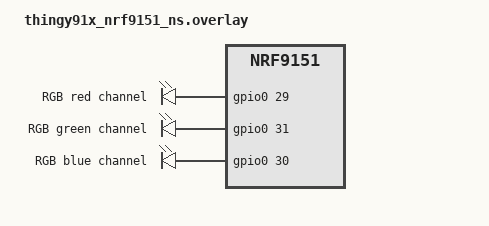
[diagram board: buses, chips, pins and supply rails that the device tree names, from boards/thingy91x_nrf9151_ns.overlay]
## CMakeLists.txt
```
#
# Copyright (c) 2022 Nordic Semiconductor
#
# SPDX-License-Identifier: LicenseRef-Nordic-5-Clause
#

cmake_minimum_required(VERSION 3.20.0)

find_package(Zephyr REQUIRED HINTS $ENV{ZEPHYR_BASE})
project(nrf_cloud_device_message_sample)

zephyr_compile_definitions(PROJECT_NAME=${PROJECT_NAME})
zephyr_include_directories(include/)

# NORDIC SDK APP START
# Add include directory for board specific CAF def files
zephyr_include_directories(
  include/${NORMALIZED_BOARD_TARGET}
  )
target_sources(app PRIVATE src/main.c)
# NORDIC SDK APP END
```

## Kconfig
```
#
# Copyright (c) 2022 Nordic Semiconductor ASA
#
# SPDX-License-Identifier: LicenseRef-Nordic-5-Clause
#

menu "nRF Cloud REST Device Message Sample"

config DEVICE_MESSAGE_SAMPLE_VERSION
	string "The sample's version string"
	default "1.0.0"

config DEVICE_MESSAGE_LTE_LED_NUM
	int "The LED number to use for indicating LTE connection success"
	default 0

config DEVICE_MESSAGE_SEND_LED_NUM
	int "The LED number to use for indicating outgoing REST request"
	default 1

config DEVICE_MESSAGE_KEEP_ALIVE
	bool "Keep connection alive during button handling"
	default y
	help
	  Keep the HTTP connection open after sending the button message so the
	  direct logging message can reuse it. This reduces data and power
	  consumption, but is not compatible with the cloud logging backend.

endmenu

menu "Zephyr Kernel"
source "Kconfig.zephyr"
endmenu

module = NRF_CLOUD_DEVICE_MESSAGE_SAMPLE
module-str = nRF Cloud Rest Sample
source "${ZEPHYR_BASE}/subsys/logging/Kconfig.template.log_config"
```

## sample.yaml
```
sample:
  name: nRF Cloud Device message
tests:
  sample.cellular.nrf_cloud_device_message_rest:
    sysbuild: true
    build_only: true
    integration_platforms:
      - nrf9151dk/nrf9151/ns
      - nrf9160dk/nrf9160/ns
      - nrf9161dk/nrf9161/ns
      - thingy91x/nrf9151/ns
    platform_allow:
      - nrf9151dk/nrf9151/ns
      - nrf9160dk/nrf9160/ns
      - nrf9161dk/nrf9161/ns
      - thingy91x/nrf9151/ns
    tags:
      - ci_build
      - sysbuild
      - ci_samples_cellular
  sample.cellular.nrf_cloud_device_message_coap:
    sysbuild: true
    build_only: true
    integration_platforms:
      - nrf9151dk/nrf9151/ns
      - nrf9160dk/nrf9160/ns
      - nrf9161dk/nrf9161/ns
      - thingy91x/nrf9151/ns
    platform_allow:
      - nrf9151dk/nrf9151/ns
      - nrf9160dk/nrf9160/ns
      - nrf9161dk/nrf9161/ns
      - thingy91x/nrf9151/ns
    tags:
      - ci_build
      - sysbuild
      - ci_samples_cellular
    extra_args: EXTRA_CONF_FILE="overlay_coap.conf"
```

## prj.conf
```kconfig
# Sample
CONFIG_NRF_CLOUD_DEVICE_MESSAGE_SAMPLE_LOG_LEVEL_INF=y

# nRF Cloud REST
CONFIG_NRF_CLOUD=y
CONFIG_NRF_CLOUD_REST=y
CONFIG_NRF_CLOUD_CLIENT_ID_SRC_IMEI=y
CONFIG_NRF_CLOUD_CHECK_CREDENTIALS=y

# Common Application Framework (CAF)
CONFIG_CAF=y
CONFIG_APP_EVENT_MANAGER=y
CONFIG_APP_EVENT_MANAGER_LOG_LEVEL_ERR=y

# CAF button module with GPIOs
CONFIG_GPIO=y
CONFIG_CAF_BUTTONS=y
CONFIG_CAF_BUTTONS_POLARITY_INVERSED=y

# CAF LEDs module with GPIOs
CONFIG_LED=y
CONFIG_CAF_LEDS=y
CONFIG_LED_GPIO=y
CONFIG_CAF_LEDS_GPIO=y

# Networking
CONFIG_NETWORKING=y
CONFIG_NET_SOCKETS=y
CONFIG_NET_SOCKETS_OFFLOAD=y

# Enable LTE Connectivity using Connection Manager
CONFIG_NET_IPV4=y
CONFIG_NET_IPV6=y
CONFIG_NET_IPV6_NBR_CACHE=n
CONFIG_NET_IPV6_MLD=n
CONFIG_NET_CONNECTION_MANAGER=y
CONFIG_NRF_MODEM_LIB=y
CONFIG_NRF_MODEM_LIB_NET_IF=y
CONFIG_NRF_MODEM_LIB_NET_IF_AUTO_DOWN=y
CONFIG_NRF_MODEM_LIB_NET_IF_DOWN_DEFAULT_LTE_DISCONNECT=y
CONFIG_NET_CONNECTION_MANAGER_MONITOR_STACK_SIZE=1024
CONFIG_NET_MGMT_EVENT_STACK_SIZE=1024

# LTE link control
CONFIG_LTE_LINK_CONTROL=y

# System
CONFIG_HEAP_MEM_POOL_SIZE=19000
CONFIG_MAIN_STACK_SIZE=3072
CONFIG_SYSTEM_WORKQUEUE_STACK_SIZE=2048
CONFIG_ASSERT=y
CONFIG_REBOOT=y
CONFIG_FPU=y
CONFIG_PICOLIBC_IO_FLOAT=y
CONFIG_EVENTS=y
CONFIG_POSIX_API=y

# Logging
CONFIG_LOG=y
CONFIG_LOG_MODE_IMMEDIATE=y
CONFIG_UART_INTERRUPT_DRIVEN=y
CONFIG_NRF_CLOUD_ALERT=y
CONFIG_NRF_CLOUD_ALERT_LOG_LEVEL_WRN=y
CONFIG_NRF_CLOUD_LOG_DIRECT=y
CONFIG_NRF_CLOUD_LOG_OUTPUT_LEVEL=3

# Needed for time-stamping messages
CONFIG_DATE_TIME=y
CONFIG_DATE_TIME_NTP=y
CONFIG_PRINTK=y

# AT Host
CONFIG_AT_HOST_LIBRARY=y
CONFIG_AT_MONITOR_HEAP_SIZE=4096
CONFIG_AT_HOST_STACK_SIZE=2048

# Enable settings storage
CONFIG_SETTINGS=y
CONFIG_SETTINGS_FCB=y
CONFIG_FCB=y
CONFIG_FLASH_MAP=y
CONFIG_FLASH=y
CONFIG_FLASH_PAGE_LAYOUT=y

# Modem info
CONFIG_MODEM_INFO=y
CONFIG_MODEM_INFO_ADD_DEVICE=n
CONFIG_MODEM_INFO_ADD_NETWORK=n
CONFIG_MODEM_INFO_ADD_SIM=n

# Modem key management
CONFIG_MODEM_KEY_MGMT=y
CONFIG_MODEM_JWT=y
CONFIG_NRF_CLOUD_REST_AUTOGEN_JWT=y
CONFIG_NRF_CLOUD_SEC_TAG=16842753
```

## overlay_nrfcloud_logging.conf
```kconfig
#
# Copyright (c) 2023 Nordic Semiconductor ASA
#
# SPDX-License-Identifier: LicenseRef-Nordic-5-Clause
#
CONFIG_NRF_CLOUD_LOG_BACKEND=y
CONFIG_NRF_CLOUD_LOG_LOG_LEVEL_INF=y
CONFIG_LOG_MODE_DEFERRED=y

# If enabled, log levels for each log source can be set per log backend, and
# can be changed dynamically.
CONFIG_LOG_RUNTIME_FILTERING=n

CONFIG_LOG_BUFFER_SIZE=4096

# Select which format to generate. Dictionary logs are compact but require
# decoding on the server or user PC. Text logs are verbose but immediately
# visible in the nRF Cloud web portal. Unless you disable UART text logging,
# you must set CONFIG_LOG_FMT_SECTION_STRIP=n when
# CONFIG_LOG_BACKEND_NRF_CLOUD_OUTPUT_DICTIONARY=y, or else you will get a
# build assert warning you to do so. This is to prevent a hard crash at runtime.
CONFIG_LOG_BACKEND_NRF_CLOUD_OUTPUT_TEXT=y
#CONFIG_LOG_BACKEND_NRF_CLOUD_OUTPUT_DICTIONARY=y
#CONFIG_LOG_FMT_SECTION_STRIP=n

CONFIG_LOG_PROCESS_THREAD_STACK_SIZE=4096
CONFIG_LOG_PROCESS_THREAD_SLEEP_MS=10000
CONFIG_LOG_PROCESS_TRIGGER_THRESHOLD=5
CONFIG_DEVICE_MESSAGE_KEEP_ALIVE=n
```

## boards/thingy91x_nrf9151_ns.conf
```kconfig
#
# Copyright (c) 2025 Nordic Semiconductor ASA
#
# SPDX-License-Identifier: LicenseRef-Nordic-5-Clause
#

# Configuration file for Thingy:91 X.
# This file is merged with prj.conf in the application folder, and options
# set here will take precedence if they are present in both files.

# Use UUID as client ID
CONFIG_NRF_CLOUD_CLIENT_ID_SRC_INTERNAL_UUID=y

# RED LED indicates LTE connection success
CONFIG_DEVICE_MESSAGE_LTE_LED_NUM=0
# GREEN LED indicates successful sending of device message
CONFIG_DEVICE_MESSAGE_SEND_LED_NUM=1
```

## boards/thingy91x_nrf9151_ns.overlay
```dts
/*
 * Copyright (c) 2025 Nordic Semiconductor ASA
 *
 * SPDX-License-Identifier: LicenseRef-Nordic-5-Clause
 */

/	{
	aliases {
		/delete-property/ led0;
		/delete-property/ led1;
		/delete-property/ led2;
	};

	/delete-node/ leds;

	leds0 {
		compatible = "gpio-leds";
		status = "okay";
		label = "LED0";
		led0: led_0 {
			status = "okay";
			gpios = <&gpio0 29 0>;
			label = "RGB red channel";
		};
	};

	leds1 {
		compatible = "gpio-leds";
		status = "okay";
		label = "LED1";
		led1: led_1 {
			gpios = <&gpio0 31 0>;
			label = "RGB green channel";
		};
	};

	leds2 {
		compatible = "gpio-leds";
		status = "okay";
		label = "LED2";
		led2: led_2 {
			gpios = <&gpio0 30 0>;
			label = "RGB blue channel";
		};
	};
};
```

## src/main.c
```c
/*
 * Copyright (c) 2022 Nordic Semiconductor ASA
 *
 * SPDX-License-Identifier: LicenseRef-Nordic-5-Clause
 */

#include <zephyr/kernel.h>
#include <modem/nrf_modem_lib.h>
#include <nrf_modem_at.h>
#include <modem/modem_info.h>
#include <zephyr/settings/settings.h>
#include <helpers/nrfx_reset_reason.h>
#include <net/nrf_cloud.h>
#include <net/nrf_cloud_log.h>
#include <net/nrf_cloud_alert.h>
#include <zephyr/logging/log.h>
#include <zephyr/logging/log_ctrl.h>
#include <date_time.h>
#include <zephyr/random/random.h>

#include <app_event_manager.h>
#include <caf/events/button_event.h>
#include <caf/events/led_event.h>
#define MODULE main
#include <caf/events/module_state_event.h>

#include <zephyr/net/conn_mgr_connectivity.h>

#include "leds_def.h"

#if defined(CONFIG_NRF_CLOUD_REST)
#include <net/nrf_cloud_rest.h>
#elif defined(CONFIG_NRF_CLOUD_COAP)
#include <net/nrf_cloud_coap.h>
#endif /* CONFIG_NRF_CLOUD_COAP */

LOG_MODULE_REGISTER(nrf_cloud_device_message,
		    CONFIG_NRF_CLOUD_DEVICE_MESSAGE_SAMPLE_LOG_LEVEL);

/* Button number to send BUTTON event device message */
#define BTN_NUM		1
#define LTE_LED_NUM	 CONFIG_DEVICE_MESSAGE_LTE_LED_NUM
#define SEND_LED_NUM	 CONFIG_DEVICE_MESSAGE_SEND_LED_NUM

/* This does not match a predefined schema, but it is not a problem. */
#define SAMPLE_SIGNON_FMT "nRF Cloud Device Message Sample, version: %s"
#define SAMPLE_MSG_FMT	"{\"sample_message\":"\
				"\"Hello World, from the REST Device Message Sample! "\
				"Message ID: %lld\"}"
#define SAMPLE_MSG_BUF_SIZE (sizeof(SAMPLE_MSG_FMT) + 19)

/* Network states */
#define NETWORK_UP		  BIT(0)
#define EVENT_MASK		  (NET_EVENT_L4_CONNECTED | NET_EVENT_L4_DISCONNECTED)

/* Semaphore to indicate a button has been pressed */
static K_EVENT_DEFINE(button_press_event);
#define BUTTON_PRESSED BIT(0)

/* Connection event */
static K_EVENT_DEFINE(connection_events);

/* nRF Cloud device ID */
static char device_id[NRF_CLOUD_CLIENT_ID_MAX_LEN + 1];

#if defined(CONFIG_NRF_CLOUD_REST)

#define REST_RX_BUF_SZ 2100
/* Buffer used for REST calls */
static char rx_buf[REST_RX_BUF_SZ];

/* nRF Cloud REST context */
static struct nrf_cloud_rest_context rest_ctx = {
	.connect_socket = -1,
	.rx_buf = rx_buf,
	.rx_buf_len = sizeof(rx_buf),
};

#endif /* CONFIG_NRF_CLOUD_REST */


/* Register a listener for application events, specifically a button event */
static bool app_event_handler(const struct app_event_header *aeh);
APP_EVENT_LISTENER(MODULE, app_event_handler);
APP_EVENT_SUBSCRIBE(MODULE, button_event);

static int send_led_event(enum led_id led_idx, const int state)
{
	if (led_idx >= LED_ID_COUNT) {
		LOG_ERR("Invalid LED ID: %d", led_idx);
		return -EINVAL;
	}

	struct led_event *event = new_led_event();

	event->led_id = led_idx;
	event->led_effect = state != 0 ? &led_effect_on : &led_effect_off;
	APP_EVENT_SUBMIT(event);

	return 0;
}

static int set_led(const int led, const int state)
{
	int err = send_led_event(led, state);
	if (err) {
		LOG_ERR("Failed to set LED %d, error: %d", led, err);
		return err;
	}

	return 0;
}

static int set_leds_off(void)
{
	int err = set_led(LTE_LED_NUM, 0);
	if (err) {
		return err;
	}

	err = set_led(SEND_LED_NUM, 0);
	if (err) {
		return err;
	}

	return 0;
}

static bool cred_check(struct nrf_cloud_credentials_status *const cs)
{
	int ret = 0;

	ret = nrf_cloud_credentials_check(cs);
	if (ret) {
		LOG_ERR("nRF Cloud credentials check failed, error: %d", ret);
		return false;
	}

	/* Since this is a REST sample, we only need two credentials:
	 *  - a CA for the TLS connections
	 *  - a private key to sign the JWT
	 */

	if (!cs->ca || !cs->ca_aws || !cs->prv_key) {
		LOG_WRN("Missing required nRF Cloud credential(s) in sec tag %u:", cs->sec_tag);
	}
	if (!cs->ca || !cs->ca_aws) {
		LOG_WRN("\t-CA Cert");
	}
	if (!cs->prv_key) {
		LOG_WRN("\t-Private Key");
	}

	return (cs->ca && cs->ca_aws && cs->prv_key);
}

static void await_credentials(void)
{
	struct nrf_cloud_credentials_status cs;

	while (!cred_check(&cs)) {
		LOG_INF("Waiting for credentials to be installed...");
		LOG_INF("Press the reset button once the credentials are installed");
		k_sleep(K_FOREVER);
	}

	LOG_INF("nRF Cloud credentials detected!");
}

static bool app_event_handler(const struct app_event_header *aeh)
{
	struct button_event *event = is_button_event(aeh) ? cast_button_event(aeh) : NULL;

	if (!event) {
		return false;
	} else if (!event->pressed) {
		return true;
	}

	const uint16_t btn_num = event->key_id + 1;

	if (btn_num == BTN_NUM) {
		LOG_DBG("Button %d pressed", btn_num);
		k_event_post(&button_press_event, BUTTON_PRESSED);
	}
	return true;
}

static int send_message(const char *const msg)
{
	int ret = 0;

	/* Turn the SEND LED on for a bit */
	set_led(SEND_LED_NUM, 1);

	LOG_INF("Sending message:'%s'", msg);
	/* Send the message to nRF Cloud */
#if defined(CONFIG_NRF_CLOUD_REST)
	ret = nrf_cloud_rest_send_device_message(&rest_ctx, device_id, msg, false, NULL);
#elif defined(CONFIG_NRF_CLOUD_COAP)
	ret = nrf_cloud_coap_json_message_send(msg, false, true);
#endif
	if (ret) {
		LOG_ERR("Failed to send device message via REST: %d", ret);
	} else {
		LOG_INF("Message sent");
	}

	/* Keep that LED on for at least 100ms */
	k_sleep(K_MSEC(100));

	/* Turn the LED back off */
	set_led(SEND_LED_NUM, 0);

	return ret;
}

static void send_message_on_button(void)
{
	static unsigned int count;

	/* Wait for a button press */
	k_event_wait(&button_press_event, BUTTON_PRESSED, true, K_FOREVER);

#if defined(CONFIG_NRF_CLOUD_REST)
	/* Send off a JSON message about the button press */
	/* This matches the nRF Cloud-defined schema for a "BUTTON" device message */
	rest_ctx.keep_alive = IS_ENABLED(CONFIG_DEVICE_MESSAGE_KEEP_ALIVE);
#endif /* CONFIG_NRF_CLOUD_REST */

	(void)send_message("{\"appId\":\"BUTTON\", \"messageType\":\"DATA\", \"data\":\"1\"}");

#if defined(CONFIG_NRF_CLOUD_REST)
	rest_ctx.keep_alive = false;
#endif /* CONFIG_NRF_CLOUD_REST */

#if defined(CONFIG_NRF_CLOUD_REST)
	(void)nrf_cloud_rest_log_send(&rest_ctx, device_id, LOG_LEVEL_DBG,
				      "Button pressed %u times", ++count);
#elif defined(CONFIG_NRF_CLOUD_COAP)
	(void)nrf_cloud_log_send(LOG_LEVEL_DBG, "Button pressed %u times", ++count);
#endif /* CONFIG_NRF_CLOUD_COAP */
}

static void print_reset_reason(void)
{
	int reset_reason = 0;

	reset_reason = nrfx_reset_reason_get();
	LOG_INF("Reset reason: 0x%x", reset_reason);
}

static void report_startup(void)
{
	int err = 0;
	int reset_reason = 0;


	reset_reason = nrfx_reset_reason_get();
	nrfx_reset_reason_clear(reset_reason);
	LOG_INF("Reset reason: 0x%x", reset_reason);

#if defined(CONFIG_NRF_CLOUD_REST)
	/* Set the keep alive flag to true;
	 * connection will remain open to allow for multiple REST calls
	 */
	rest_ctx.keep_alive = true;

	err = nrf_cloud_rest_alert_send(&rest_ctx, device_id,
					ALERT_TYPE_DEVICE_NOW_ONLINE,
					reset_reason, NULL);
#elif defined(CONFIG_NRF_CLOUD_COAP)
	err = nrf_cloud_alert_send(ALERT_TYPE_DEVICE_NOW_ONLINE,
				   reset_reason, NULL);
#endif /* CONFIG_NRF_CLOUD_COAP */

	if (err) {
		LOG_ERR("Error sending alert to cloud: %d", err);
	}

#if defined(CONFIG_NRF_CLOUD_REST)
	err = nrf_cloud_rest_log_send(&rest_ctx, device_id,
				      LOG_LEVEL_INF,
				      SAMPLE_SIGNON_FMT,
				      CONFIG_DEVICE_MESSAGE_SAMPLE_VERSION);
#elif defined(CONFIG_NRF_CLOUD_COAP)
	(void)nrf_cloud_log_send(LOG_LEVEL_INF,
				 SAMPLE_SIGNON_FMT,
				 CONFIG_DEVICE_MESSAGE_SAMPLE_VERSION);
#endif /* CONFIG_NRF_CLOUD_COAP */

	if (err) {
		LOG_ERR("Error sending direct log to cloud: %d", err);
	}
}

int send_hello_world_msg(void)
{
	int err = 0;
	int64_t time_now = 0;
	char buf[SAMPLE_MSG_BUF_SIZE];

	/* Get the current timestamp */
	err = date_time_now(&time_now);
	if (err) {
		LOG_ERR("Failed to get timestamp, using random number");
		sys_rand_get(&time_now, sizeof(time_now));
	}

	/* Send off a hello world message! */
	err = snprintk(buf, SAMPLE_MSG_BUF_SIZE, SAMPLE_MSG_FMT, time_now);
	if (err < 0 || err > SAMPLE_MSG_BUF_SIZE) {
		LOG_ERR("Failed to create Hello World message.");
		return err;
	}

	err = send_message(buf);
	if (err) {
		LOG_ERR("Failed to send Hello World message");
	} else {
		LOG_INF("Sent Hello World message with ID: %lld", time_now);
	}

	return err;
}

static void modem_time_wait(void)
{
	int err = 0;
	char time_buf[64];

	LOG_INF("Waiting for modem to acquire network time...");

	do {
		k_sleep(K_SECONDS(3));

		err = nrf_modem_at_cmd(time_buf, sizeof(time_buf), "AT%%CCLK?");
		if (err) {
			LOG_DBG("AT Clock Command Error %d... Retrying in 3 seconds.", err);
		}
	} while (err != 0);

	LOG_INF("Network time obtained");
}

static int setup(void)
{
	int err = 0;

	print_reset_reason();

	/* Application event manager is used for button press and LED
	 * events from the common application framework (CAF) library
	 */
	err = app_event_manager_init();
	if (err) {
		LOG_ERR("Application Event Manager could not be initialized, error: %d", err);
		return err;
	}

	/* Inform the app event manager that this module is ready to receive events */
	module_set_state(MODULE_STATE_READY);

	/* Set the LEDs off after all modules are ready */
	err = set_leds_off();
	if (err) {
		LOG_ERR("Failed to set LEDs off");
		return err;
	}

	/* Init modem */
	err = nrf_modem_lib_init();
	if (err) {
		LOG_ERR("Failed to initialize modem library: 0x%X", err);
		return -EFAULT;
	}

	/* Ensure device has credentials installed before proceeding */
	await_credentials();

	/* Get the device ID */
	err = nrf_cloud_client_id_get(device_id, sizeof(device_id));
	if (err) {
		LOG_ERR("Failed to get device ID, error: %d", err);
		return err;
	}

	/* Initiate Connection */
	LOG_INF("Enabling connectivity...");
	conn_mgr_all_if_connect(true);
	k_event_wait(&connection_events, NETWORK_UP, false, K_FOREVER);

	/* Wait until we know what time it is (necessary for JSON Web Token generation) */
	modem_time_wait();

#if defined(CONFIG_NRF_CLOUD_COAP)
	/* nRF Cloud CoAP requires login */
	err = nrf_cloud_coap_init();
	if (err) {
		LOG_ERR("Failed to initialize CoAP client: %d", err);
		return err;
	}
	err = nrf_cloud_coap_connect(NULL);
	if (err) {
		LOG_ERR("Connecting to nRF Cloud failed, error: %d", err);
		return 0;
	}
#endif /* CONFIG_NRF_CLOUD_COAP */

    /* Initialize the nRF Cloud logging subsystem */
	nrf_cloud_log_init();

#if defined(CONFIG_NRF_CLOUD_LOG_BACKEND)
	nrf_cloud_log_rest_context_set(&rest_ctx, device_id);
#endif
	nrf_cloud_log_enable(nrf_cloud_log_control_get() != LOG_LEVEL_NONE);

	return 0;
}

/* Callback to track network connectivity */
static struct net_mgmt_event_callback l4_callback;
static void l4_event_handler(struct net_mgmt_event_callback *cb, uint32_t event,
			     struct net_if *iface)
{
	if ((event & EVENT_MASK) != event) {
		return;
	}

	if (event == NET_EVENT_L4_CONNECTED) {
		/* Mark network as up. */
		(void)set_led(LTE_LED_NUM, 1);
		LOG_INF("Connected to LTE");
		k_event_post(&connection_events, NETWORK_UP);
	}

	if (event == NET_EVENT_L4_DISCONNECTED) {
		/* Mark network as down. */
		(void)set_led(LTE_LED_NUM, 0);
		LOG_INF("Network connectivity lost!");
	}
}

/* Start tracking network availability */
static int prepare_network_tracking(void)
{
	net_mgmt_init_event_callback(&l4_callback, l4_event_handler, EVENT_MASK);
	net_mgmt_add_event_callback(&l4_callback);

	return 0;
}

SYS_INIT(prepare_network_tracking, APPLICATION, 0);

int main(void)
{
	int err = 0;

	LOG_INF(SAMPLE_SIGNON_FMT, CONFIG_DEVICE_MESSAGE_SAMPLE_VERSION);

	err = setup();
	if (err) {
		LOG_ERR("Setup failed, stopping.");
		return 0;
	}

	/* Send alert and log message to the cloud. */
	report_startup();

#if defined(CONFIG_NRF_CLOUD_REST)
	/* Set the keep alive flag to false;
	 * connection will be closed after the next REST call
	 */
	rest_ctx.keep_alive = false;
#endif /* CONFIG_NRF_CLOUD_REST */

	err = send_hello_world_msg();

	/* -EBADMSG can indicate that nRF Cloud rejected the device's JWT in the REST call */
	if (err == -EBADMSG) {
		LOG_ERR("Ensure device is provisioned or "
				"has its public key registered with nRF Cloud");
	}

	while (1) {
		send_message_on_button();
	}
}
```

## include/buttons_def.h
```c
/*
 * Copyright (c) 2023 Nordic Semiconductor ASA
 *
 * SPDX-License-Identifier: LicenseRef-Nordic-5-Clause
 */

#include <caf/gpio_pins.h>

/* This file is included by the common application framework (CAF) library */

/* This configuration file is included only once from buttons module and holds
 * information about pins forming the keyboard matrix.
 */

/* This structure enforces the header file to be included only once in the build.
 * Violating this requirement triggers a multiple definition error at link time.
 */
const struct {} buttons_def_include_once;

static const struct gpio_pin col[] = {};

static const struct gpio_pin row[] = {
	{ .port = 0, .pin = DT_GPIO_PIN(DT_NODELABEL(button0), gpios) },
};
```

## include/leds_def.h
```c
/*
 * Copyright (c) 2023 Nordic Semiconductor ASA
 *
 * SPDX-License-Identifier: LicenseRef-Nordic-5-Clause
 */

#include <caf/led_effect.h>

/* This configuration file is included only once from the main module and holds
 * information about LED on and off effects.
 */

/* This structure enforces the header file to be included only once in the build.
 * Violating this requirement triggers a multiple definition error at link time.
 */
const struct {} leds_def_include_once;

enum led_id {
	LED_ID_0,
	LED_ID_1,
	LED_ID_2,
	LED_ID_3,

	LED_ID_COUNT
};

static const struct led_effect led_effect_on = LED_EFFECT_LED_ON(LED_COLOR(255, 255, 255));
static const struct led_effect led_effect_off = LED_EFFECT_LED_OFF();
```
